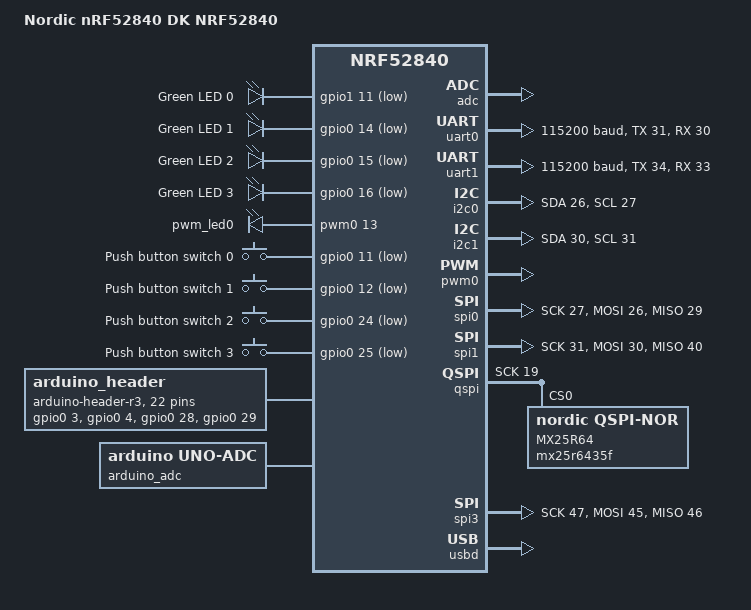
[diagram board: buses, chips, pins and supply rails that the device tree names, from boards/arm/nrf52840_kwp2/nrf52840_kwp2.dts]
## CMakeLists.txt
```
# LICENSE
#
# The MIT License (MIT)
#
# Copyright (c) 2020 Rohit Gujarathi https://github.com/rgujju
#
# Permission is hereby granted, free of charge, to any person obtaining a copy
# of this software and associated documentation files (the "Software"), to deal
# in the Software without restriction, including without limitation the rights
# to use, copy, modify, merge, publish, distribute, sublicense, and/or sell
# copies of the Software, and to permit persons to whom the Software is
# furnished to do so, subject to the following conditions:
#
# The above copyright notice and this permission notice shall be included in all
# copies or substantial portions of the Software.
#
# THE SOFTWARE IS PROVIDED "AS IS", WITHOUT WARRANTY OF ANY KIND, EXPRESS OR
# IMPLIED, INCLUDING BUT NOT LIMITED TO THE WARRANTIES OF MERCHANTABILITY,
# FITNESS FOR A PARTICULAR PURPOSE AND NONINFRINGEMENT. IN NO EVENT SHALL THE
# AUTHORS OR COPYRIGHT HOLDERS BE LIABLE FOR ANY CLAIM, DAMAGES OR OTHER
# LIABILITY, WHETHER IN AN ACTION OF CONTRACT, TORT OR OTHERWISE, ARISING FROM,
# OUT OF OR IN CONNECTION WITH THE SOFTWARE OR THE USE OR OTHER DEALINGS IN THE
# SOFTWARE.

cmake_minimum_required(VERSION 3.11.1)

# The project name
set(PROJECT_NAME main CACHE STRING "Name of the project")
# The project version number.
set(VERSION_MAJOR   0   CACHE STRING "Project major version number")
set(VERSION_MINOR   0   CACHE STRING "Project minor version number")
set(VERSION_PATCH   1   CACHE STRING "Project patch version number")

#-------------------
# General Flags
#-------------------
set(OBJECT_GEN_FLAGS " \
-fno-builtin \
-Wall \
-ffunction-sections -fdata-sections \
-fomit-frame-pointer \
" CACHE INTERNAL "Common flags for C/CXX/ASM/Linker")

#-------------------
# ASMFLAGS for cross
#-------------------
set(CMAKE_ASM_FLAGS " \
-x assembler-with-cpp \
" CACHE INTERNAL "ASM Compiler options")

#-------------------
# LFLAGS for cross
#-------------------
set(CMAKE_EXE_LINKER_FLAGS " \
-Wl,-Map=${PROJECT_NAME}.map \
-Wl,--gc-sections \
" CACHE INTERNAL "Linker options")

#------------------
# Debug Flags
#------------------
set(CMAKE_C_FLAGS_DEBUG "-O0 -g -gdwarf-3 -gstrict-dwarf " CACHE INTERNAL "C Compiler options for debug build type")
set(CMAKE_CXX_FLAGS_DEBUG "-O0 -g -gdwarf-3 -gstrict-dwarf " CACHE INTERNAL "C++ Compiler options for debug build type")
set(CMAKE_ASM_FLAGS_DEBUG "-O0 -g -gdwarf-3 -gstrict-dwarf " CACHE INTERNAL "ASM Compiler options for debug build type")
set(CMAKE_EXE_LINKER_FLAGS_DEBUG "" CACHE INTERNAL "Linker options for debug build type")

#------------------
# Release Flags
#-----------------
set(CMAKE_C_FLAGS_RELEASE "-Os -flto " CACHE INTERNAL "C Compiler options for release build type")
set(CMAKE_CXX_FLAGS_RELEASE "-Os -flto " CACHE INTERNAL "C++ Compiler options for release build type")
set(CMAKE_ASM_FLAGS_RELEASE "" CACHE INTERNAL "ASM Compiler options for release build type")
set(CMAKE_EXE_LINKER_FLAGS_RELEASE "-flto " CACHE INTERNAL "Linker options for release build type")

# Control building kernel or userlib
if(USERLIB)
    set(RKERNEL __ZEPHYR_USER__=1 CONFIG_USERLIB=1)
endif()

message(STATUS "[INFO] RKERNEL is: ${RKERNEL}")

#------------------
# Modules Setup
#------------------
list(APPEND ZEPHYR_EXTRA_MODULES
    ${CMAKE_CURRENT_SOURCE_DIR}/modules/sys_module
    ${CMAKE_CURRENT_SOURCE_DIR}/modules/app_loader
    )

#-------------------
# Common macros for kerne
#-------------------
set(COMPILE_DEFS
    ${RKERNEL}
    )

#-------------------
# Common macros for modules
#-------------------
set(MODULE_COMPILE_DEFS
    ${COMPILE_DEFS}
    )
set(PROJECT_BASE ${CMAKE_CURRENT_SOURCE_DIR})
#list(APPEND SYSCALL_INCLUDE_DIRS
#	${CMAKE_CURRENT_SOURCE_DIR}/modules/sys_module/zephyr
#	)

find_package(Zephyr HINTS $ENV{ZEPHYR_BASE})
#include($ENV{ZEPHYR_BASE}/cmake/app/boilerplate.cmake NO_POLICY_SCOPE)

project(${PROJECT_NAME})
mark_as_advanced(VERSION_MAJOR VERSION_MINOR VERSION_PATCH)

# Define the linker script location
#set(KERNEL_LINKER_SCRIPT linker.ld)

#set(LINKER_SCRIPT "${KERNEL_LINKER_SCRIPT}")
#find_file(LINKER_SCRIPT_PATH
#    NAMES "${LINKER_SCRIPT}"
#    PATHS
#    ${CMAKE_CURRENT_LIST_DIR}
#    )

#if(DEFINED LINKER_SCRIPT_PATH)
#    message(STATUS "[INFO] Using linker file at ${LINKER_SCRIPT_PATH}")
#    string(APPEND CMAKE_EXE_LINKER_FLAGS "-T${LINKER_SCRIPT_PATH} ")
#else()
#    message(FATAL_ERROR "[ERRR] Could not find linker script ${LINKER_SCRIPT}")
#endif()

######################################################################
# @Target: Zephyr application
# @Brief: Build the kernel for the project
#         kernel is built as zephyr application
######################################################################
file(GLOB MAIN_SRC
    "src/*.c"
    )
target_include_directories(app
    PUBLIC
    ${CMAKE_CURRENT_SOURCE_DIR}/include
    modules/
    )
target_compile_definitions(app
    PUBLIC
    ${COMPILE_DEFS}
    )
target_sources(app
    PRIVATE
    ${MAIN_SRC}
    )

######################################################################
# @Target: doc
# @Brief: Generate doxygen documentation
######################################################################
# check if Doxygen is installed
find_package(Doxygen)
if (DOXYGEN_FOUND)
    # set input and output files
    set(DOXYGEN_IN ${CMAKE_CURRENT_SOURCE_DIR}/docs/Doxyfile.in)
    set(DOXYGEN_OUT ${CMAKE_CURRENT_BINARY_DIR}/Doxyfile)

    # exclude folders while making documentation
    # should be separated by spaces
    set(DOXYGEN_EXCLUDE_DIR "${CMAKE_CURRENT_SOURCE_DIR}/components/* ${CMAKE_CURRENT_SOURCE_DIR}/build/* ${CMAKE_CURRENT_SOURCE_DIR}/${MCU_DIR}* ${CMAKE_CURRENT_SOURCE_DIR}/apps/lib")

    # set mainpage in doxygen
    set(DOXYGEN_MAIN_PAGE "${CMAKE_CURRENT_SOURCE_DIR}/README.md")

    # request to configure the file
    configure_file(${DOXYGEN_IN} ${DOXYGEN_OUT} @ONLY)

    # Generate doxygen documentation
    # And copy to docs folder on project root so github pages can display docs
    add_custom_target(docs
        COMMAND ${DOXYGEN_EXECUTABLE} ${DOXYGEN_OUT}
        COMMAND ${CMAKE_COMMAND} -E copy_directory html ${PROJECT_SOURCE_DIR}/docs/html
        WORKING_DIRECTORY ${CMAKE_CURRENT_BINARY_DIR}
        COMMENT "Generating API documentation with Doxygen"
        VERBATIM
        )
else (DOXYGEN_FOUND)
    message("Doxygen need to be installed to generate the doxygen documentation")
endif (DOXYGEN_FOUND)

######################################################################
# @Target: userlib
# @Brief:  Build the userlib, this is an archive to which the app
#          will be linked
######################################################################

add_custom_target(userlib DEPENDS sys_module)
set(out_disassembly_cmd    "")
set(out_disassembly_byprod "")
bintools_objdump(
  RESULT_CMD_LIST    out_disassembly_cmd
  RESULT_BYPROD_LIST out_disassembly_byprod
  "DISASSEMBLE_ALL"
  FILE_INPUT         userlib/libsys_module.a
  FILE_OUTPUT        libsys_module.diss
  )

# Copy the sys_module lib and header files to lib folder for easy distribution
add_custom_command(TARGET userlib
    COMMAND ${CMAKE_COMMAND} -E make_directory userlib
    COMMAND ${CMAKE_COMMAND} -E copy modules/sys_module/libsys_module.a userlib
    COMMAND ${CMAKE_COMMAND} -E copy ${CMAKE_SOURCE_DIR}/modules/sys_module/*[!_kernel].h userlib
    COMMAND ${CMAKE_COMMAND} -E copy ${CMAKE_SOURCE_DIR}/include/common.h userlib
    #COMMAND ${CMAKE_COMMAND} -E touch userlib/toolchain.h
    COMMAND "sed" "-i" "'s/#include <toolchain.h>//g'" "userlib/*"
    COMMAND "sed" "-i" "'s/#include <.*_kernel.h>//g'" "userlib/*" #TODO: Remove linux dependency
    COMMAND ${out_disassembly_cmd}
    )
######################################################################
# @Target: clean
# @Brief:  Add more files to the clean target
######################################################################

# Add additional files to the make clean
set_property(DIRECTORY PROPERTY ADDITIONAL_MAKE_CLEAN_FILES
    "${PROJECT_NAME}.map"
    "${CMAKE_CURRENT_BINARY_DIR}/html"
    "${CMAKE_CURRENT_BINARY_DIR}/latex"
    "${CMAKE_CURRENT_BINARY_DIR}/userlib"
    "${CMAKE_CURRENT_BINARY_DIR}/libsys_module.diss"
    )
```

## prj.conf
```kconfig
CONFIG_HEAP_MEM_POOL_SIZE=8192
CONFIG_OUTPUT_DISASSEMBLE_ALL=y

# Enable application syscalls
CONFIG_APPLICATION_DEFINED_SYSCALL=y
CONFIG_USERSPACE=y
#CONFIG_HW_STACK_PROTECTION=y

CONFIG_LOG=y
CONFIG_FAULT_DUMP=2

# Console configuration
CONFIG_CONSOLE=y
CONFIG_SERIAL=y
CONFIG_UART_CONSOLE=y
CONFIG_UART_CONSOLE_ON_DEV_NAME="UART_0"
CONFIG_USB_UART_CONSOLE=n
CONFIG_SEMIHOST_CONSOLE=n
```

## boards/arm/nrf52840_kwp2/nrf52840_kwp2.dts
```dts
/*
 * Copyright (c) 2017 Linaro Limited
 *
 * SPDX-License-Identifier: Apache-2.0
 */

/dts-v1/;
#include <nordic/nrf52840_qiaa.dtsi>

/ {
	model = "Nordic nRF52840 DK NRF52840";
	compatible = "nordic,nrf52840-dk-nrf52840";

	chosen {
		zephyr,console = &uart0;
		zephyr,shell-uart = &uart0;
		zephyr,uart-mcumgr = &uart0;
		zephyr,bt-mon-uart = &uart0;
		zephyr,bt-c2h-uart = &uart0;
		zephyr,sram = &sram0;
		zephyr,flash = &flash0;
		zephyr,code-partition = &slot0_partition;
	};

	leds {
		compatible = "gpio-leds";
		led0: led_0 {
			gpios = <&gpio1 11 GPIO_ACTIVE_LOW>;
			label = "Green LED 0";
		};
		led1: led_1 {
			gpios = <&gpio0 14 GPIO_ACTIVE_LOW>;
			label = "Green LED 1";
		};
		led2: led_2 {
			gpios = <&gpio0 15 GPIO_ACTIVE_LOW>;
			label = "Green LED 2";
		};
		led3: led_3 {
			gpios = <&gpio0 16 GPIO_ACTIVE_LOW>;
			label = "Green LED 3";
		};
	};

	pwmleds {
		compatible = "pwm-leds";
		pwm_led0: pwm_led_0 {
			pwms = <&pwm0 13>;
		};
	};

	buttons {
		compatible = "gpio-keys";
		button0: button_0 {
			gpios = <&gpio0 11 (GPIO_PULL_UP | GPIO_ACTIVE_LOW)>;
			label = "Push button switch 0";
		};
		button1: button_1 {
			gpios = <&gpio0 12 (GPIO_PULL_UP | GPIO_ACTIVE_LOW)>;
			label = "Push button switch 1";
		};
		button2: button_2 {
			gpios = <&gpio0 24 (GPIO_PULL_UP | GPIO_ACTIVE_LOW)>;
			label = "Push button switch 2";
		};
		button3: button_3 {
			gpios = <&gpio0 25 (GPIO_PULL_UP | GPIO_ACTIVE_LOW)>;
			label = "Push button switch 3";
		};
	};

	arduino_header: connector {
		compatible = "arduino-header-r3";
		#gpio-cells = <2>;
		gpio-map-mask = <0xffffffff 0xffffffc0>;
		gpio-map-pass-thru = <0 0x3f>;
		gpio-map = <0 0 &gpio0 3 0>,	/* A0 */
			   <1 0 &gpio0 4 0>,	/* A1 */
			   <2 0 &gpio0 28 0>,	/* A2 */
			   <3 0 &gpio0 29 0>,	/* A3 */
			   <4 0 &gpio0 30 0>,	/* A4 */
			   <5 0 &gpio0 31 0>,	/* A5 */
			   <6 0 &gpio1 1 0>,	/* D0 */
			   <7 0 &gpio1 2 0>,	/* D1 */
			   <8 0 &gpio1 3 0>,	/* D2 */
			   <9 0 &gpio1 4 0>,	/* D3 */
			   <10 0 &gpio1 5 0>,	/* D4 */
			   <11 0 &gpio1 6 0>,	/* D5 */
			   <12 0 &gpio1 7 0>,	/* D6 */
			   <13 0 &gpio1 8 0>,	/* D7 */
			   <14 0 &gpio1 10 0>,	/* D8 */
			   <15 0 &gpio1 11 0>,	/* D9 */
			   <16 0 &gpio1 12 0>,	/* D10 */
			   <17 0 &gpio1 13 0>,	/* D11 */
			   <18 0 &gpio1 14 0>,	/* D12 */
			   <19 0 &gpio1 15 0>,	/* D13 */
			   <20 0 &gpio0 26 0>,	/* D14 */
			   <21 0 &gpio0 27 0>;	/* D15 */
	};

	arduino_adc: analog-connector {
		compatible = "arduino,uno-adc";
		#io-channel-cells = <1>;
		io-channel-map = <0 &adc 1>,	/* A0 = P0.3 = AIN1 */
				 <1 &adc 2>,	/* A1 = P0.4 = AIN2 */
				 <2 &adc 4>,	/* A2 = P0.28 = AIN4 */
				 <3 &adc 5>,	/* A3 = P0.29 = AIN5 */
				 <4 &adc 6>,	/* A4 = P0.30 = AIN6 */
				 <5 &adc 7>;	/* A5 = P0.31 = AIN7 */
	};

	/* These aliases are provided for compatibility with samples */
	aliases {
		led0 = &led0;
		led1 = &led1;
		led2 = &led2;
		led3 = &led3;
		pwm-led0 = &pwm_led0;
		sw0 = &button0;
		sw1 = &button1;
		sw2 = &button2;
		sw3 = &button3;
	};
};

&adc {
	status = "okay";
};

&gpiote {
	status = "okay";
};

&gpio0 {
	status = "okay";
};

&gpio1 {
	status = "okay";
};

&uart0 {
	compatible = "nordic,nrf-uart";
	status = "okay";
	current-speed = <115200>;
	tx-pin = <31>;
	rx-pin = <30>;
	rts-pin = <5>;
	cts-pin = <7>;
};

arduino_serial: &uart1 {
	status = "okay";
	current-speed = <115200>;
	rx-pin = <33>;
	tx-pin = <34>;
};

arduino_i2c: &i2c0 {
	compatible = "nordic,nrf-twi";
	status = "okay";
	sda-pin = <26>;
	scl-pin = <27>;
};

&i2c1 {
	compatible = "nordic,nrf-twi";
	/* Cannot be used together with spi1. */
	/* status = "okay"; */
	sda-pin = <30>;
	scl-pin = <31>;
};

&pwm0 {
	status = "okay";
	ch0-pin = <13>;
	ch0-inverted;
};

&spi0 {
	compatible = "nordic,nrf-spi";
	/* Cannot be used together with i2c0. */
	/* status = "okay"; */
	sck-pin = <27>;
	mosi-pin = <26>;
	miso-pin = <29>;
};

&spi1 {
	compatible = "nordic,nrf-spi";
	status = "okay";
	sck-pin = <31>;
	mosi-pin = <30>;
	miso-pin = <40>;
};

&spi2 {
	compatible = "nordic,nrf-spi";
	status = "disabled";
	sck-pin = <19>;
	mosi-pin = <20>;
	miso-pin = <21>;
};

&qspi {
	status = "okay";
	sck-pin = <19>;
	io-pins = <20>, <21>, <22>, <23>;
	csn-pins = <17>;
	mx25r64: mx25r6435f@0 {
		compatible = "nordic,qspi-nor";
		reg = <0>;
		writeoc = "pp4io";
		readoc = "read4io";
		sck-frequency = <8000000>;
		label = "MX25R64";
		jedec-id = [c2 28 17];
		size = <67108864>;
		has-be32k;
		has-dpd;
		t-enter-dpd = <10000>;
		t-exit-dpd = <35000>;
	};
};

arduino_spi: &spi3 {
	status = "okay";
	sck-pin = <47>;
	miso-pin = <46>;
	mosi-pin = <45>;
	cs-gpios = <&arduino_header 16 0>; /* D10 */
};

&flash0 {
	/*
	 * For more information, see:
	 * http://docs.zephyrproject.org/latest/guides/dts/index.html#flash-partitions
	 */
	partitions {
		compatible = "fixed-partitions";
		#address-cells = <1>;
		#size-cells = <1>;

		boot_partition: partition@0 {
			label = "mcuboot";
			reg = <0x000000000 0x0000C000>;
		};
		slot0_partition: partition@c000 {
			label = "image-0";
			reg = <0x0000C000 0x00067000>;
		};
		slot1_partition: partition@73000 {
			label = "image-1";
			reg = <0x00073000 0x00067000>;
		};
		scratch_partition: partition@da000 {
			label = "image-scratch";
			reg = <0x000da000 0x0001e000>;
		};

		/*
		 * The flash starting at 0x000f8000 and ending at
		 * 0x000fffff is reserved for use by the application.
		 */

		/*
		 * Storage partition will be used by FCB/LittleFS/NVS
		 * if enabled.
		 */
		storage_partition: partition@f8000 {
			label = "storage";
			reg = <0x000f8000 0x00008000>;
		};
	};
};

&usbd {
	compatible = "nordic,nrf-usbd";
	status = "okay";
};
```

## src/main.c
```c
/**
 ******************************************************************************
 * @file    main.c
 * @brief   Main file
 *          Load the app and also turn on a LED
 ******************************************************************************
 * @attention
 *
 * LICENSE
 *
 * The MIT License (MIT)
 *
 * Copyright (c) 2020 Rohit Gujarathi
 *
 * Permission is hereby granted, free of charge, to any person obtaining a copy
 * of this software and associated documentation files (the "Software"), to deal
 * in the Software without restriction, including without limitation the rights
 * to use, copy, modify, merge, publish, distribute, sublicense, and/or sell
 * copies of the Software, and to permit persons to whom the Software is
 * furnished to do so, subject to the following conditions:
 *
 * The above copyright notice and this permission notice shall be included in all
 * copies or substantial portions of the Software.
 *
 * THE SOFTWARE IS PROVIDED "AS IS", WITHOUT WARRANTY OF ANY KIND, EXPRESS OR
 * IMPLIED, INCLUDING BUT NOT LIMITED TO THE WARRANTIES OF MERCHANTABILITY,
 * FITNESS FOR A PARTICULAR PURPOSE AND NONINFRINGEMENT. IN NO EVENT SHALL THE
 * AUTHORS OR COPYRIGHT HOLDERS BE LIABLE FOR ANY CLAIM, DAMAGES OR OTHER
 * LIABILITY, WHETHER IN AN ACTION OF CONTRACT, TORT OR OTHERWISE, ARISING FROM,
 * OUT OF OR IN CONNECTION WITH THE SOFTWARE OR THE USE OR OTHER DEALINGS IN THE
 * SOFTWARE.
*/

#include <zephyr.h>
#include <device.h>
#include <devicetree.h>
#include <drivers/gpio.h>

#include "led.h"

void blinky() {
    while (1) {
        SetLed(LED1, LED_ON);
        k_msleep(1000);
        SetLed(LED1, LED_OFF);
        k_msleep(1000);
    }
}
struct k_thread blinky_thread;

//uint8_t __aligned(8) blinky_buffer[4096];
//k_thread_stack_t* blinky_stack = &blinky_buffer[2048];

//uint8_t __aligned(8) blinky_stack[4096];

//k_thread_stack_t __aligned(8) blinky_stack[4096]; //does not work


// The following works because of the keyword z_thread_stack_element 
// scripts/gen_kobject_list.py parses the generated elf file for that keyword
// and adds it to the generated gperf hash  

//struct z_thread_stack_element __aligned(8) blinky_stack[4096];

//struct z_thread_stack_element __attribute__((__aligned__(4096))) blinky_stack[4096];

//K_THREAD_STACK_DEFINE(blinky_stack, 4096);

//struct z_thread_stack_element __attribute__((__aligned__(((1 << (31 - __builtin_clz(4096))) < 4096 ? 1 << (31 - __builtin_clz(4096) + 1) : 1 << (31 - __builtin_clz(4096)))))) blinky_stack[((1 << (31 - __builtin_clz(4096))) < 4096 ? 1 << (31 - __builtin_clz(4096) + 1) : 1 << (31 - __builtin_clz(4096)))];

int main ( void ) {
	k_thread_system_pool_assign(k_current_get());	
	// Does not work
	//struct z_thread_stack_element *blinky_stack = k_malloc(4096);
	//blinky_stack = Z_STACK_PTR_ALIGN(blinky_stack);

//	struct k_thread* blinky_thread =  k_object_alloc(K_OBJ_THREAD);
//	if(blinky_thread == NULL){
//		printk("Could not allocate blinky_thread");
//		return -1;
//	}

	printk("size of struct z_stack_data: %d\n",sizeof(struct z_stack_data));	

	struct z_thread_stack_element* blinky_stack = k_object_alloc(K_OBJ_THREAD_STACK_ELEMENT,4096);
	
	if(blinky_stack == NULL){
		printk("Could not allocate blinky_stack");
		return -1;
	}


	

	//printk("Aligned to %d\n",((1 << (31 - __builtin_clz(4096))) < 4096 ? 1 << (31 - __builtin_clz(4096) + 1) : 1 << (31 - __builtin_clz(4096))));
	//printk("Blinky stack size %d\n",((1 << (31 - __builtin_clz(4096))) < 4096 ? 1 << (31 - __builtin_clz(4096) + 1) : 1 << (31 - __builtin_clz(4096)))); 
    
	//printk("Alignment of stack %d\n",__alignof__(blinky_stack));
	//printk("Size of stack %d\n",sizeof(blinky_stack));

	//for(uint32_t i = 0; i < sizeof(blinky_stack); i++){
	//	blinky_stack[i] = i;
	//}

	SetLed(LED0, LED_ON);
    k_thread_create(&blinky_thread,
                    blinky_stack,
                    4096,
                    blinky,
                    NULL, NULL, NULL,
                    3, K_USER, K_NO_WAIT);

	while (1) {
    	k_msleep(1000);
	}
    return 0;
}
```

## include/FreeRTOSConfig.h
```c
#ifndef FREERTOS_CONFIG_H
#define FREERTOS_CONFIG_H

// For more information about each macro checkout https://www.freertos.org/a00110.html
/* Here is a good place to include header files that are required across
your application. */
// #include "something.h"

extern uint32_t SystemCoreClock;

#define configUSE_PREEMPTION			1
#define configUSE_IDLE_HOOK				0
#define configUSE_TICK_HOOK				0
#define configCPU_CLOCK_HZ				( SystemCoreClock )
#define configTICK_RATE_HZ				( ( TickType_t ) 1000 )
#define configMAX_PRIORITIES			( 5 )
#define configMINIMAL_STACK_SIZE		( ( unsigned short ) 130 )
#define configTOTAL_HEAP_SIZE			( ( size_t ) ( 75 * 1024 ) )
#define configMAX_TASK_NAME_LEN			( 16 )
#define configUSE_TRACE_FACILITY		1
#define configUSE_16_BIT_TICKS			0
#define configIDLE_SHOULD_YIELD			1
#define configUSE_MUTEXES				1
#define configQUEUE_REGISTRY_SIZE		8
#define configCHECK_FOR_STACK_OVERFLOW	0
#define configUSE_RECURSIVE_MUTEXES		1
#define configUSE_MALLOC_FAILED_HOOK	0
#define configUSE_APPLICATION_TASK_TAG	0
#define configUSE_COUNTING_SEMAPHORES	1
#define configGENERATE_RUN_TIME_STATS	0
#define configSUPPORT_STATIC_ALLOCATION 1

/* Co-routine definitions. */
#define configUSE_CO_ROUTINES 		0
#define configMAX_CO_ROUTINE_PRIORITIES ( 2 )

/* Software timer definitions. */
#define configUSE_TIMERS				1
#define configTIMER_TASK_PRIORITY		( 2 )
#define configTIMER_QUEUE_LENGTH		10
#define configTIMER_TASK_STACK_DEPTH	( configMINIMAL_STACK_SIZE * 2 )

/* Set the following definitions to 1 to include the API function, or zero
to exclude the API function. */
#define INCLUDE_vTaskPrioritySet		1
#define INCLUDE_uxTaskPriorityGet		1
#define INCLUDE_vTaskDelete				1
#define INCLUDE_vTaskCleanUpResources	1
#define INCLUDE_vTaskSuspend			1
#define INCLUDE_vTaskDelayUntil			1
#define INCLUDE_vTaskDelay				1

/* Cortex-M specific definitions. */
#ifdef __NVIC_PRIO_BITS
	/* __BVIC_PRIO_BITS will be specified when CMSIS is being used. */
	#define configPRIO_BITS       		__NVIC_PRIO_BITS
#else
	#define configPRIO_BITS       		4        /* 15 priority levels */
#endif

/* The lowest interrupt priority that can be used in a call to a "set priority"
function. */
#define configLIBRARY_LOWEST_INTERRUPT_PRIORITY			0xf

/* The highest interrupt priority that can be used by any interrupt service
routine that makes calls to interrupt safe FreeRTOS API functions.  DO NOT CALL
INTERRUPT SAFE FREERTOS API FUNCTIONS FROM ANY INTERRUPT THAT HAS A HIGHER
PRIORITY THAN THIS! (higher priorities are lower numeric values. */
#define configLIBRARY_MAX_SYSCALL_INTERRUPT_PRIORITY	5

/* Interrupt priorities used by the kernel port layer itself.  These are generic
to all Cortex-M ports, and do not rely on any particular library functions. */
#define configKERNEL_INTERRUPT_PRIORITY 		( configLIBRARY_LOWEST_INTERRUPT_PRIORITY << (8 - configPRIO_BITS) )
/* !!!! configMAX_SYSCALL_INTERRUPT_PRIORITY must not be set to zero !!!!
See http://www.FreeRTOS.org/RTOS-Cortex-M3-M4.html. */
#define configMAX_SYSCALL_INTERRUPT_PRIORITY 	( configLIBRARY_MAX_SYSCALL_INTERRUPT_PRIORITY << (8 - configPRIO_BITS) )
	
/* Normal assert() semantics without relying on the provision of an assert.h
header file. */
#define configASSERT( x ) if( ( x ) == 0 ) { taskDISABLE_INTERRUPTS(); for( ;; ); }
	
/* Definitions that map the FreeRTOS port interrupt handlers to their CMSIS
standard names. */
#define vPortSVCHandler SVC_Handler
#define xPortPendSVHandler PendSV_Handler
#define xPortSysTickHandler SysTick_Handler

/* A header file that defines trace macro can be included here. */

#endif /* FREERTOS_CONFIG_H */
```

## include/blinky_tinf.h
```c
const uint8_t app[] __attribute__((aligned)) = {0x54,
0x49,0x4e,0x46,0x62,0x6c,0x69,0x6e,0x6b,0x79,0x0,
0x0,0x0,0x0,0x0,0x0,0x0,0x0,0x0,0x0,0x1,
0x0,0x2b,0x0,0x1,0x0,0x1,0x0,0x8,0x0,0x0,
0x0,0x81,0x46,0x0,0x0,0x8,0xb5,0x12,0x4b,0x59,
0xf8,0x3,0x30,0x1b,0x78,0x1,0x3b,0xda,0xb2,0xf,
0x4b,0x59,0xf8,0x3,0x30,0x1a,0x70,0xe,0x4b,0x59,
0xf8,0x3,0x30,0x98,0x47,0x3,0x46,0x1a,0x46,0xc,
0x4b,0x59,0xf8,0x3,0x30,0x1a,0x70,0x8,0x4b,0x59,
0xf8,0x3,0x30,0x1a,0x78,0x8,0x4b,0x59,0xf8,0x3,
0x30,0x1b,0x78,0x19,0x46,0x10,0x46,0x6,0x4b,0x59,
0xf8,0x3,0x30,0x98,0x47,0x0,0x23,0x18,0x46,0x8,
0xbd,0x10,0x0,0x0,0x0,0x4,0x0,0x0,0x0,0x8,
0x0,0x0,0x0,0x0,0x0,0x0,0x0,0x1,0x23,0x18,
0x46,0x70,0x47,0x0,0x0,0x0,0xb5,0x83,0xb0,0x6,
0x4b,0x59,0xf8,0x3,0x30,0x98,0x47,0x3,0x46,0x8d,
0xf8,0x7,0x30,0x9d,0xf8,0x7,0x30,0x18,0x46,0x3,
0xb0,0x5d,0xf8,0x4,0xfb,0x0,0xbf,0xc,0x0,0x0,
0x0,0x2d,0xe9,0x47,0x41,0x8d,0xf8,0x7,0x0,0x8d,
0xf8,0x6,0x10,0xdd,0xf8,0x7,0x0,0xdd,0xf8,0x6,
0x10,0xcf,0x26,0x3,0xdf,0x40,0xb2,0x3,0xb0,0xbd,
0xe8,0x40,0x81,0x2,0x0,0x0,0x0,0x8d,0x0,0x0,
0x0,0x69,0x0,0x0,0x0,0x24,0x0,0x0,0x10,0x61,
0x0,0x0,0x0,0x0,0x0,0x0,0x10,0x0,0x0,0x0,
0x0,0x0,0x0,0x0,0x0,0x0,0x0,0x0,0x0,};
```

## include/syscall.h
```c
#include <stdint.h>

#define LED1 1
#define LED2 2
#define LED_ON 1

typedef struct sys_struct{
    uint8_t (*set_led)(uint8_t Led_Num, uint8_t Led_State);
}sys_struct;

#ifdef KERNEL
    uint8_t set_led(uint8_t Led_Num, uint8_t Led_State);
    sys_struct sys;
#else
   const  sys_struct *sys;
#endif
```

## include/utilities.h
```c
/**
 ******************************************************************************
 * @file    utilities.h
 * @brief   Contains helper code
 ******************************************************************************
 * @attention
 *
 * LICENSE
 *
 * The MIT License (MIT)
 *
 * Copyright (c) 2020 Rohit Gujarathi
 *
 * Permission is hereby granted, free of charge, to any person obtaining a copy
 * of this software and associated documentation files (the "Software"), to deal
 * in the Software without restriction, including without limitation the rights
 * to use, copy, modify, merge, publish, distribute, sublicense, and/or sell
 * copies of the Software, and to permit persons to whom the Software is
 * furnished to do so, subject to the following conditions:
 *
 * The above copyright notice and this permission notice shall be included in all
 * copies or substantial portions of the Software.
 *
 * THE SOFTWARE IS PROVIDED "AS IS", WITHOUT WARRANTY OF ANY KIND, EXPRESS OR
 * IMPLIED, INCLUDING BUT NOT LIMITED TO THE WARRANTIES OF MERCHANTABILITY,
 * FITNESS FOR A PARTICULAR PURPOSE AND NONINFRINGEMENT. IN NO EVENT SHALL THE
 * AUTHORS OR COPYRIGHT HOLDERS BE LIABLE FOR ANY CLAIM, DAMAGES OR OTHER
 * LIABILITY, WHETHER IN AN ACTION OF CONTRACT, TORT OR OTHERWISE, ARISING FROM,
 * OUT OF OR IN CONNECTION WITH THE SOFTWARE OR THE USE OR OTHER DEALINGS IN THE
 * SOFTWARE.
*/

#pragma once

#include <stdio.h>
#include <stdint.h>
```

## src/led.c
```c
/**
 ******************************************************************************
 * @file    led.c
 * @brief   Contains APIs for setting state of the LED
 ******************************************************************************
 * @attention
 *
 * LICENSE
 *
 * The MIT License (MIT)
 *
 * Copyright (c) 2020 Rohit Gujarathi rgujju.github.io
 *
 * Permission is hereby granted, free of charge, to any person obtaining a copy
 * of this software and associated documentation files (the "Software"), to deal
 * in the Software without restriction, including without limitation the rights
 * to use, copy, modify, merge, publish, distribute, sublicense, and/or sell
 * copies of the Software, and to permit persons to whom the Software is
 * furnished to do so, subject to the following conditions:
 *
 * The above copyright notice and this permission notice shall be included in all
 * copies or substantial portions of the Software.
 *
 * THE SOFTWARE IS PROVIDED "AS IS", WITHOUT WARRANTY OF ANY KIND, EXPRESS OR
 * IMPLIED, INCLUDING BUT NOT LIMITED TO THE WARRANTIES OF MERCHANTABILITY,
 * FITNESS FOR A PARTICULAR PURPOSE AND NONINFRINGEMENT. IN NO EVENT SHALL THE
 * AUTHORS OR COPYRIGHT HOLDERS BE LIABLE FOR ANY CLAIM, DAMAGES OR OTHER
 * LIABILITY, WHETHER IN AN ACTION OF CONTRACT, TORT OR OTHERWISE, ARISING FROM,
 * OUT OF OR IN CONNECTION WITH THE SOFTWARE OR THE USE OR OTHER DEALINGS IN THE
 * SOFTWARE.
*/


#include <zephyr.h>
#include <device.h>
#include <devicetree.h>
#include <drivers/gpio.h>

#include "led.h"

int8_t z_impl_SetLed(uint8_t Led_Num, uint8_t Led_State) {
	printk("Setting LED %d to %d\n",Led_Num,Led_State);
    return 0;
}

static int8_t z_vrfy_SetLed(uint8_t Led_Num, uint8_t Led_State){
    
    return z_impl_SetLed(Led_Num, Led_State);
    
}
#include <syscalls/SetLed_mrsh.c>
```

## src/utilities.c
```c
/**
 ******************************************************************************
 * @file    utilities.c
 * @brief   Contains helper code
 ******************************************************************************
 * @attention
 *
 * LICENSE
 *
 * The MIT License (MIT)
 *
 * Copyright (c) 2020 Rohit Gujarathi
 *
 * Permission is hereby granted, free of charge, to any person obtaining a copy
 * of this software and associated documentation files (the "Software"), to deal
 * in the Software without restriction, including without limitation the rights
 * to use, copy, modify, merge, publish, distribute, sublicense, and/or sell
 * copies of the Software, and to permit persons to whom the Software is
 * furnished to do so, subject to the following conditions:
 *
 * The above copyright notice and this permission notice shall be included in all
 * copies or substantial portions of the Software.
 *
 * THE SOFTWARE IS PROVIDED "AS IS", WITHOUT WARRANTY OF ANY KIND, EXPRESS OR
 * IMPLIED, INCLUDING BUT NOT LIMITED TO THE WARRANTIES OF MERCHANTABILITY,
 * FITNESS FOR A PARTICULAR PURPOSE AND NONINFRINGEMENT. IN NO EVENT SHALL THE
 * AUTHORS OR COPYRIGHT HOLDERS BE LIABLE FOR ANY CLAIM, DAMAGES OR OTHER
 * LIABILITY, WHETHER IN AN ACTION OF CONTRACT, TORT OR OTHERWISE, ARISING FROM,
 * OUT OF OR IN CONNECTION WITH THE SOFTWARE OR THE USE OR OTHER DEALINGS IN THE
 * SOFTWARE.
*/

#include <utilities.h>
```
